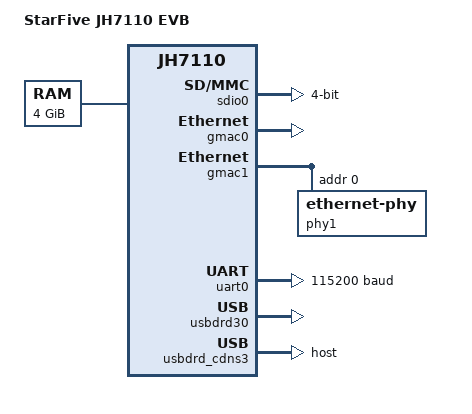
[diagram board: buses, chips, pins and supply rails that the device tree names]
// SPDX-License-Identifier: GPL-2.0 OR MIT
/*
 * Copyright (C) 2022 StarFive Technology Co., Ltd.
 */

/dts-v1/;

#include "jh7110.dtsi"
#include <dt-bindings/pinctrl/pinctrl-starfive-jh7110.h>
/ {
	#address-cells = <2>;
	#size-cells = <2>;
	model = "StarFive JH7110 EVB";
	compatible = "starfive,jh7110";

	aliases {
		spi0="/soc/spi@13010000";
		gpio0="/soc/gpio@13040000";
		ethernet0=&gmac0;
		ethernet1=&gmac1;
		mmc0=&sdio0;
		mmc1=&sdio1;
	};

	chosen {
			stdout-path = "/soc/serial@10000000:115200";
	};


	memory@80000000 {
		device_type = "memory";
		reg = <0x0 0x40000000 0x1 0x0>;
	};

	soc {
	};
};

&cpu0 {
	status = "okay";
};

&clkgen {
	clocks = <&osc>, <&gmac1_rmii_refin>,
		<&stg_apb>, <&gmac0_rmii_refin>;
	clock-names = "osc", "gmac1_rmii_refin",
		"stg_apb", "gmac0_rmii_refin";
};

&gpio {
	status = "okay";

	usb_pins: usb-pins {
		drive-vbus-pin {
			pinmux = <GPIOMUX(33, GPOUT_SYS_USB_DRIVE_VBUS,
						GPOEN_ENABLE, GPI_NONE)>;
			bias-pull-up;
			drive-strength = <2>;
			input-disable;
			input-schmitt-disable;
			slew-rate = <0>;
		};

		overcurrent-pin {
			pinmux = <GPIOMUX(34, GPOUT_LOW,
						GPOEN_DISABLE, GPI_SYS_USB_OVERCURRENT)>;
			bias-pull-up;
			drive-strength = <2>;
			input-disable;
			input-schmitt-disable;
			slew-rate = <0>;
		};
	};

	mmc0_pins: mmc0-pins {
		 mmc0-pins-rest {
			pinmux = <GPIOMUX(22, GPOUT_SYS_SDIO0_RST,
						GPOEN_ENABLE, GPI_NONE)>;
			bias-pull-up;
			drive-strength = <12>;
			input-disable;
			input-schmitt-disable;
			slew-rate = <0>;
		};
	};

	mmc1_pins: mmc1-pins {
		 mmc1-pins-rest {
			pinmux = <GPIOMUX(24, GPOUT_SYS_SDIO1_RST,
						GPOEN_ENABLE, GPI_NONE)>;
			bias-pull-up;
			drive-strength = <12>;
			input-disable;
			input-schmitt-disable;
			slew-rate = <0>;
		};
	};
};

&sdio0 {
	fifo-depth = <32>;
	bus-width = <4>;
	status = "okay";
	pinctrl-names = "default";
	pinctrl-0 = <&mmc0_pins>;
};

&sdio1 {
	status = "disabled";
	pinctrl-names = "default";
	pinctrl-0 = <&mmc1_pins>;
};

&gmac0 {
	status = "okay";
	#address-cells = <1>;
	#size-cells = <0>;
	phy0: ethernet-phy@0 {
		rxc_dly_en = <1>;
		tx_delay_sel_fe = <5>;
		tx_delay_sel = <0xb>;
		tx_inverted_10 = <0x0>;
		tx_inverted_100 = <0x0>;
		tx_inverted_1000 = <0x0>;
	};
};

&gmac1 {
	status = "okay";
	#address-cells = <1>;
	#size-cells = <0>;
	phy1: ethernet-phy@1 {
		rxc-skew-ps = <1060>;
		txc-skew-ps = <1800>;
		reg = <0>;
	};
};

&uart0 {
	reg-offset = <0>;
	current-speed = <115200>;
	status = "okay";
};

&gpioa {
	status = "disabled";
};

&usbdrd30 {
	status = "okay";
};

&usbdrd_cdns3 {
	dr_mode = "host";
	pinctrl-names = "default";
	pinctrl-0 = <&usb_pins>;
};

&timer {
	status = "disabled";
};

&wdog {
	status = "disabled";
};

&clkvout {
	status = "disabled";
};

&pdm {
	status = "disabled";
};
